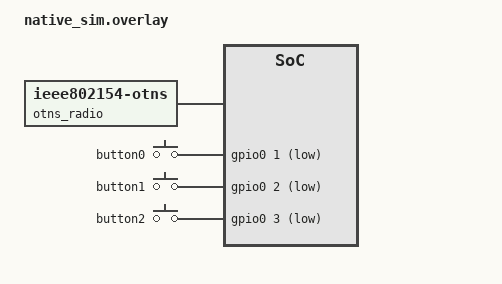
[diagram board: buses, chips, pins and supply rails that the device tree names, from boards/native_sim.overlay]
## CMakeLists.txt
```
cmake_minimum_required(VERSION 3.20.0)

if(BOARD STREQUAL "native_sim")
  set(OT_CLI_VENDOR_EXTENSION "${CMAKE_CURRENT_SOURCE_DIR}/src/switch_vendor_cli.cmake" CACHE STRING "" FORCE)
endif()

find_package(Zephyr REQUIRED HINTS $ENV{ZEPHYR_BASE})
project(switch_input)

target_include_directories(app PRIVATE src ${CMAKE_CURRENT_SOURCE_DIR}/../common)

target_sources(app PRIVATE
  src/main.c
  src/coap_client.c
  src/switch_input.c
)

if(BOARD STREQUAL "native_sim")
  target_sources(app PRIVATE src/switch_vendor_cli.c)
endif()
```

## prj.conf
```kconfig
# Increased main stack size required for initialization
CONFIG_MAIN_STACK_SIZE=4096

# Button input (native_sim defaults this off, unlike real boards)
CONFIG_GPIO=y

# Enable Networking and OpenThread stack
CONFIG_NETWORKING=y
CONFIG_NET_L2_OPENTHREAD=y

# CoAP client (Zephyr's own CoAP API, not OpenThread's otCoap API)
CONFIG_NET_SOCKETS=y
CONFIG_NET_UDP=y
CONFIG_COAP=y
CONFIG_COAP_CLIENT=y
CONFIG_POSIX_API=y

# Use NVS as settings backend
CONFIG_NVS=y

# Logging
CONFIG_LOG=y
CONFIG_NET_LOG=y

# Networking and OpenThread shells
CONFIG_SHELL=y
CONFIG_NET_SHELL=y
CONFIG_OPENTHREAD_SHELL=y
```

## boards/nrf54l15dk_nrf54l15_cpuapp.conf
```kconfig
CONFIG_OPENTHREAD_PANID=0x1234
CONFIG_OPENTHREAD_XPANID="11:11:11:11:22:22:22:22"
CONFIG_OPENTHREAD_NETWORKKEY="00:11:22:33:44:55:66:77:88:99:aa:bb:cc:dd:ee:ff"
CONFIG_OPENTHREAD_CHANNEL=15
CONFIG_OPENTHREAD_NETWORK_NAME="OtnsLightSwitch"
```

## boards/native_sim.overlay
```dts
#include <zephyr/dt-bindings/gpio/gpio.h>

/ {
	chosen {
		zephyr,ieee802154 = &otns_radio;
	};

	otns_radio: otns_radio {
		compatible = "zephyr,ieee802154-otns";
		status = "okay";
	};

	buttons {
		compatible = "gpio-keys";

		button0: button_0 {
			gpios = <&gpio0 1 (GPIO_PULL_UP | GPIO_ACTIVE_LOW)>;
		};

		button1: button_1 {
			gpios = <&gpio0 2 (GPIO_PULL_UP | GPIO_ACTIVE_LOW)>;
		};

		button2: button_2 {
			gpios = <&gpio0 3 (GPIO_PULL_UP | GPIO_ACTIVE_LOW)>;
		};
	};

	aliases {
		sw0 = &button0;
		sw1 = &button1;
		sw2 = &button2;
	};
};
```

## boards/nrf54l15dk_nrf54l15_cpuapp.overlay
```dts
&ieee802154 {
	status = "okay";
};
```

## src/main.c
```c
/*
 * Copyright (c) 2026, The OTNS Authors.
 * All rights reserved.
 *
 * Redistribution and use in source and binary forms, with or without
 * modification, are permitted provided that the following conditions are met:
 * 1. Redistributions of source code must retain the above copyright
 *    notice, this list of conditions and the following disclaimer.
 * 2. Redistributions in binary form must reproduce the above copyright
 *    notice, this list of conditions and the following disclaimer in the
 *    documentation and/or other materials provided with the distribution.
 * 3. Neither the name of the copyright holder nor the
 *    names of its contributors may be used to endorse or promote products
 *    derived from this software without specific prior written permission.
 *
 * THIS SOFTWARE IS PROVIDED BY THE COPYRIGHT HOLDERS AND CONTRIBUTORS "AS IS"
 * AND ANY EXPRESS OR IMPLIED WARRANTIES, INCLUDING, BUT NOT LIMITED TO, THE
 * IMPLIED WARRANTIES OF MERCHANTABILITY AND FITNESS FOR A PARTICULAR PURPOSE
 * ARE DISCLAIMED. IN NO EVENT SHALL THE COPYRIGHT HOLDER OR CONTRIBUTORS BE
 * LIABLE FOR ANY DIRECT, INDIRECT, INCIDENTAL, SPECIAL, EXEMPLARY, OR
 * CONSEQUENTIAL DAMAGES (INCLUDING, BUT NOT LIMITED TO, PROCUREMENT OF
 * SUBSTITUTE GOODS OR SERVICES; LOSS OF USE, DATA, OR PROFITS; OR BUSINESS
 * INTERRUPTION) HOWEVER CAUSED AND ON ANY THEORY OF LIABILITY, WHETHER IN
 * CONTRACT, STRICT LIABILITY, OR TORT (INCLUDING NEGLIGENCE OR OTHERWISE)
 * ARISING IN ANY WAY OUT OF THE USE OF THIS SOFTWARE, EVEN IF ADVISED OF THE
 * POSSIBILITY OF SUCH DAMAGE.
 */

#include "coap_client.h"
#include "switch_input.h"

int main(void)
{
    switch_coap_init();
    switch_input_init();

    return 0;
}
```

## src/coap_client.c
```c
/*
 * Copyright (c) 2026, The OTNS Authors.
 * All rights reserved.
 *
 * Redistribution and use in source and binary forms, with or without
 * modification, are permitted provided that the following conditions are met:
 * 1. Redistributions of source code must retain the above copyright
 *    notice, this list of conditions and the following disclaimer.
 * 2. Redistributions in binary form must reproduce the above copyright
 *    notice, this list of conditions and the following disclaimer in the
 *    documentation and/or other materials provided with the distribution.
 * 3. Neither the name of the copyright holder nor the
 *    names of its contributors may be used to endorse or promote products
 *    derived from this software without specific prior written permission.
 *
 * THIS SOFTWARE IS PROVIDED BY THE COPYRIGHT HOLDERS AND CONTRIBUTORS "AS IS"
 * AND ANY EXPRESS OR IMPLIED WARRANTIES, INCLUDING, BUT NOT LIMITED TO, THE
 * IMPLIED WARRANTIES OF MERCHANTABILITY AND FITNESS FOR A PARTICULAR PURPOSE
 * ARE DISCLAIMED. IN NO EVENT SHALL THE COPYRIGHT HOLDER OR CONTRIBUTORS BE
 * LIABLE FOR ANY DIRECT, INDIRECT, INCIDENTAL, SPECIAL, EXEMPLARY, OR
 * CONSEQUENTIAL DAMAGES (INCLUDING, BUT NOT LIMITED TO, PROCUREMENT OF
 * SUBSTITUTE GOODS OR SERVICES; LOSS OF USE, DATA, OR PROFITS; OR BUSINESS
 * INTERRUPTION) HOWEVER CAUSED AND ON ANY THEORY OF LIABILITY, WHETHER IN
 * CONTRACT, STRICT LIABILITY, OR TORT (INCLUDING NEGLIGENCE OR OTHERWISE)
 * ARISING IN ANY WAY OUT OF THE USE OF THIS SOFTWARE, EVEN IF ADVISED OF THE
 * POSSIBILITY OF SUCH DAMAGE.
 *
 * CoAP client wiring for the switch_input app, using Zephyr's own CoAP
 * client API (not OpenThread's otCoap API) over a plain UDP socket.
 */

#include <errno.h>

#include <zephyr/logging/log.h>
LOG_MODULE_REGISTER(coap_client_app, LOG_LEVEL_INF);

#include <zephyr/net/coap_client.h>
#include <zephyr/net/socket.h>
#include <zephyr/posix/arpa/inet.h>
#include <zephyr/posix/sys/socket.h>

#include "coap_client.h"
#include "switch_light_protocol.h"

/* RFC 7967 No-Response value suppressing replies for all response classes. */
#define NO_RESPONSE_SUPPRESS_ALL 0x1A

static struct coap_client client;
static int                sock = -1;

void switch_coap_init(void)
{
    sock = socket(AF_INET6, SOCK_DGRAM, IPPROTO_UDP);
    if (sock < 0)
    {
        LOG_ERR("Failed to create CoAP client socket: %d", errno);
        return;
    }

    int ret = coap_client_init(&client, NULL);

    if (ret)
    {
        LOG_ERR("Failed to init CoAP client: %d", ret);
    }
}

void switch_input_send_command(enum light_cmd cmd)
{
    static uint8_t      payload;
    struct sockaddr_in6 addr = {
        .sin6_family = AF_INET6,
        .sin6_port   = htons(LIGHT_COAP_PORT),
    };
    struct coap_client_request req = {
        .method      = COAP_METHOD_PUT,
        .confirmable = false,
        .path        = LIGHT_COAP_URI_PATH,
        .fmt         = COAP_CONTENT_FORMAT_TEXT_PLAIN,
        .payload     = &payload,
        .len         = sizeof(payload),
        .options =
            {
                {
                    .code  = COAP_OPTION_NO_RESPONSE,
                    .len   = 1,
                    .value = {NO_RESPONSE_SUPPRESS_ALL},
                },
            },
        .num_options = 1,
    };

    if (sock < 0)
    {
        LOG_ERR("CoAP client socket not ready");
        return;
    }

    payload = (uint8_t)cmd;
    inet_pton(AF_INET6, LIGHT_COAP_MULTICAST_ADDR, &addr.sin6_addr);

    int ret = coap_client_req(&client, sock, (struct sockaddr *)&addr, &req, NULL);

    if (ret)
    {
        LOG_ERR("Failed to send CoAP request: %d", ret);
    }
}
```

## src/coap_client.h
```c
/*
 * Copyright (c) 2026, The OTNS Authors.
 * All rights reserved.
 *
 * Redistribution and use in source and binary forms, with or without
 * modification, are permitted provided that the following conditions are met:
 * 1. Redistributions of source code must retain the above copyright
 *    notice, this list of conditions and the following disclaimer.
 * 2. Redistributions in binary form must reproduce the above copyright
 *    notice, this list of conditions and the following disclaimer in the
 *    documentation and/or other materials provided with the distribution.
 * 3. Neither the name of the copyright holder nor the
 *    names of its contributors may be used to endorse or promote products
 *    derived from this software without specific prior written permission.
 *
 * THIS SOFTWARE IS PROVIDED BY THE COPYRIGHT HOLDERS AND CONTRIBUTORS "AS IS"
 * AND ANY EXPRESS OR IMPLIED WARRANTIES, INCLUDING, BUT NOT LIMITED TO, THE
 * IMPLIED WARRANTIES OF MERCHANTABILITY AND FITNESS FOR A PARTICULAR PURPOSE
 * ARE DISCLAIMED. IN NO EVENT SHALL THE COPYRIGHT HOLDER OR CONTRIBUTORS BE
 * LIABLE FOR ANY DIRECT, INDIRECT, INCIDENTAL, SPECIAL, EXEMPLARY, OR
 * CONSEQUENTIAL DAMAGES (INCLUDING, BUT NOT LIMITED TO, PROCUREMENT OF
 * SUBSTITUTE GOODS OR SERVICES; LOSS OF USE, DATA, OR PROFITS; OR BUSINESS
 * INTERRUPTION) HOWEVER CAUSED AND ON ANY THEORY OF LIABILITY, WHETHER IN
 * CONTRACT, STRICT LIABILITY, OR TORT (INCLUDING NEGLIGENCE OR OTHERWISE)
 * ARISING IN ANY WAY OUT OF THE USE OF THIS SOFTWARE, EVEN IF ADVISED OF THE
 * POSSIBILITY OF SUCH DAMAGE.
 */

#ifndef COAP_CLIENT_H_
#define COAP_CLIENT_H_

#include "switch_light_protocol.h"

void switch_coap_init(void);
void switch_input_send_command(enum light_cmd cmd);

#endif /* COAP_CLIENT_H_ */
```

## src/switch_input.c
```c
/*
 * Copyright (c) 2026, The OTNS Authors.
 * All rights reserved.
 *
 * Redistribution and use in source and binary forms, with or without
 * modification, are permitted provided that the following conditions are met:
 * 1. Redistributions of source code must retain the above copyright
 *    notice, this list of conditions and the following disclaimer.
 * 2. Redistributions in binary form must reproduce the above copyright
 *    notice, this list of conditions and the following disclaimer in the
 *    documentation and/or other materials provided with the distribution.
 * 3. Neither the name of the copyright holder nor the
 *    names of its contributors may be used to endorse or promote products
 *    derived from this software without specific prior written permission.
 *
 * THIS SOFTWARE IS PROVIDED BY THE COPYRIGHT HOLDERS AND CONTRIBUTORS "AS IS"
 * AND ANY EXPRESS OR IMPLIED WARRANTIES, INCLUDING, BUT NOT LIMITED TO, THE
 * IMPLIED WARRANTIES OF MERCHANTABILITY AND FITNESS FOR A PARTICULAR PURPOSE
 * ARE DISCLAIMED. IN NO EVENT SHALL THE COPYRIGHT HOLDER OR CONTRIBUTORS BE
 * LIABLE FOR ANY DIRECT, INDIRECT, INCIDENTAL, SPECIAL, EXEMPLARY, OR
 * CONSEQUENTIAL DAMAGES (INCLUDING, BUT NOT LIMITED TO, PROCUREMENT OF
 * SUBSTITUTE GOODS OR SERVICES; LOSS OF USE, DATA, OR PROFITS; OR BUSINESS
 * INTERRUPTION) HOWEVER CAUSED AND ON ANY THEORY OF LIABILITY, WHETHER IN
 * CONTRACT, STRICT LIABILITY, OR TORT (INCLUDING NEGLIGENCE OR OTHERWISE)
 * ARISING IN ANY WAY OUT OF THE USE OF THIS SOFTWARE, EVEN IF ADVISED OF THE
 * POSSIBILITY OF SUCH DAMAGE.
 *
 * GPIO button wiring for the switch_input app: identical devicetree-driven
 * code on every board. On native_sim the sw0/sw1/sw2 aliases are bound to
 * the board's gpio_emul controller (see boards/native_sim.overlay); a
 * small shell helper is exposed in that case to pulse the emulated inputs,
 * exercising the exact same GPIO interrupt path as real hardware.
 */

#include <errno.h>

#include <zephyr/drivers/gpio.h>
#include <zephyr/kernel.h>
#include <zephyr/logging/log.h>
LOG_MODULE_DECLARE(coap_client_app);

#include "coap_client.h"
#include "switch_input.h"

struct switch_button
{
    const struct gpio_dt_spec gpio;
    struct gpio_callback      cb;
    enum light_cmd            cmd;
};

static void button_pressed(const struct device *dev, struct gpio_callback *cb, uint32_t pins);

static struct switch_button buttons[] = {
    {.gpio = GPIO_DT_SPEC_GET(DT_ALIAS(sw0), gpios), .cmd = LIGHT_CMD_ON},
    {.gpio = GPIO_DT_SPEC_GET(DT_ALIAS(sw1), gpios), .cmd = LIGHT_CMD_OFF},
    {.gpio = GPIO_DT_SPEC_GET(DT_ALIAS(sw2), gpios), .cmd = LIGHT_CMD_TOGGLE},
};

static void button_pressed(const struct device *dev, struct gpio_callback *cb, uint32_t pins)
{
    struct switch_button *button = CONTAINER_OF(cb, struct switch_button, cb);

    ARG_UNUSED(dev);
    ARG_UNUSED(pins);

    switch_input_send_command(button->cmd);
}

void switch_input_init(void)
{
    for (size_t i = 0; i < ARRAY_SIZE(buttons); i++)
    {
        struct switch_button *button = &buttons[i];

        if (!gpio_is_ready_dt(&button->gpio))
        {
            LOG_ERR("Button device not ready");
            continue;
        }

        int ret = gpio_pin_configure_dt(&button->gpio, GPIO_INPUT);

        if (ret)
        {
            LOG_ERR("Failed to configure button (%d)", ret);
            continue;
        }

        ret = gpio_pin_interrupt_configure_dt(&button->gpio, GPIO_INT_EDGE_TO_ACTIVE);
        if (ret)
        {
            LOG_ERR("Failed to configure button interrupt (%d)", ret);
            continue;
        }

        gpio_init_callback(&button->cb, button_pressed, BIT(button->gpio.pin));
        gpio_add_callback_dt(&button->gpio, &button->cb);
    }
}

#ifdef CONFIG_GPIO_EMUL
#include <zephyr/drivers/gpio/gpio_emul.h>

void switch_input_press(enum light_cmd cmd)
{
    for (size_t i = 0; i < ARRAY_SIZE(buttons); i++)
    {
        if (buttons[i].cmd == cmd)
        {
            gpio_emul_input_set_dt(&buttons[i].gpio, 0);
            gpio_emul_input_set_dt(&buttons[i].gpio, 1);
            return;
        }
    }
}
#endif
```

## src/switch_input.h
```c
/*
 * Copyright (c) 2026, The OTNS Authors.
 * All rights reserved.
 *
 * Redistribution and use in source and binary forms, with or without
 * modification, are permitted provided that the following conditions are met:
 * 1. Redistributions of source code must retain the above copyright
 *    notice, this list of conditions and the following disclaimer.
 * 2. Redistributions in binary form must reproduce the above copyright
 *    notice, this list of conditions and the following disclaimer in the
 *    documentation and/or other materials provided with the distribution.
 * 3. Neither the name of the copyright holder nor the
 *    names of its contributors may be used to endorse or promote products
 *    derived from this software without specific prior written permission.
 *
 * THIS SOFTWARE IS PROVIDED BY THE COPYRIGHT HOLDERS AND CONTRIBUTORS "AS IS"
 * AND ANY EXPRESS OR IMPLIED WARRANTIES, INCLUDING, BUT NOT LIMITED TO, THE
 * IMPLIED WARRANTIES OF MERCHANTABILITY AND FITNESS FOR A PARTICULAR PURPOSE
 * ARE DISCLAIMED. IN NO EVENT SHALL THE COPYRIGHT HOLDER OR CONTRIBUTORS BE
 * LIABLE FOR ANY DIRECT, INDIRECT, INCIDENTAL, SPECIAL, EXEMPLARY, OR
 * CONSEQUENTIAL DAMAGES (INCLUDING, BUT NOT LIMITED TO, PROCUREMENT OF
 * SUBSTITUTE GOODS OR SERVICES; LOSS OF USE, DATA, OR PROFITS; OR BUSINESS
 * INTERRUPTION) HOWEVER CAUSED AND ON ANY THEORY OF LIABILITY, WHETHER IN
 * CONTRACT, STRICT LIABILITY, OR TORT (INCLUDING NEGLIGENCE OR OTHERWISE)
 * ARISING IN ANY WAY OUT OF THE USE OF THIS SOFTWARE, EVEN IF ADVISED OF THE
 * POSSIBILITY OF SUCH DAMAGE.
 */

#ifndef SWITCH_INPUT_H_
#define SWITCH_INPUT_H_

#include "switch_light_protocol.h"

void switch_input_init(void);

#ifdef CONFIG_GPIO_EMUL
void switch_input_press(enum light_cmd cmd);
#endif

#endif /* SWITCH_INPUT_H_ */
```

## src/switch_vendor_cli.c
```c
#include <string.h>

#include <zephyr/sys/util.h>
#include <openthread/cli.h>

#include "switch_input.h"
#include "switch_light_protocol.h"

static otError switchCommand(void *aContext, uint8_t aArgsLength, char *aArgs[])
{
    (void)aContext;

    if (aArgsLength != 2 || strcmp(aArgs[0], "press") != 0)
    {
        return OT_ERROR_INVALID_ARGS;
    }

    if (!strcmp(aArgs[1], "on"))
    {
        switch_input_press(LIGHT_CMD_ON);
    }
    else if (!strcmp(aArgs[1], "off"))
    {
        switch_input_press(LIGHT_CMD_OFF);
    }
    else if (!strcmp(aArgs[1], "toggle"))
    {
        switch_input_press(LIGHT_CMD_TOGGLE);
    }
    else
    {
        return OT_ERROR_INVALID_ARGS;
    }

    return OT_ERROR_NONE;
}

static const otCliCommand sSwitchCommands[] = {
    {"switch", switchCommand},
};

void otCliVendorSetUserCommands(void) { otCliSetUserCommands(sSwitchCommands, ARRAY_SIZE(sSwitchCommands), NULL); }
```
